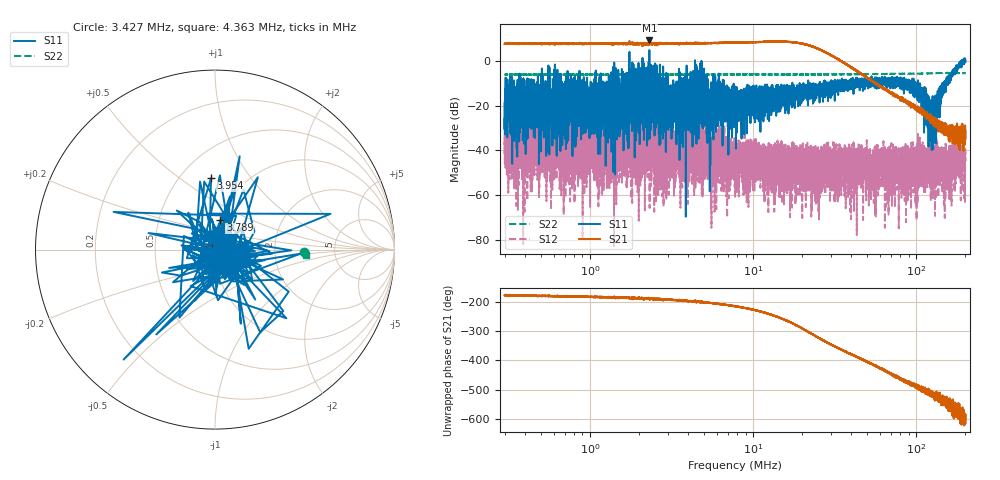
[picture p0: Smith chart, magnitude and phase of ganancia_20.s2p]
# Hz S DB R 50
! CMT, M5065, 19127446, 24.2.4/2
! Date: 11/1/2024 3:20:47 PM
! Data: Format (Calibration Info)
! Freq	S11:dB/Ang(F2)	S21:dB/Ang(F2)	S12:dB/Ang(F2)	S22:dB/Ang(F2)
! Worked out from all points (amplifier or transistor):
!   9000 points, 300 kHz to 200 MHz, reference 50 ohm
!   highest |S21| = 9.3 dB at 2.313 MHz (marker M1)
!   |S21| within 3 dB of that: start of sweep to 23.49 MHz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
!   unconditionally stable (mu >= 1): 2.315 MHz to 4.402 MHz; 4.853 MHz to 189.3 MHz; 190 MHz to 191.3 MHz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
!   at 886.8 kHz: K = 17.29, MAG = 9.1 dB, |S12| = -41.2 dB
!   at 7.749 MHz: K = 23.73, MAG = 9.6 dB, |S12| = -44.4 dB
!   at 200 MHz: K = 85.71, MAG = -17.9 dB, |S12| = -40.0 dB
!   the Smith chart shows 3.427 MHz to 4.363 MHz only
!   S11 on the Smith chart (normalised r, x): 3.427 MHz: 1.12, +0.03; 3.789 MHz: 1.01, +0.34; 3.954 MHz: 0.70, +0.66; 4.363 MHz: 1.23, -0.20
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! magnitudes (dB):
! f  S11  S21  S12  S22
! 300 kHz  -25.8  7.6  -34.3  -6.0
! 317.4 kHz  -25.2  7.8  -38.0  -6.0
! 400 kHz  -24.6  7.8  -42.4  -6.0
! 558.1 kHz  -24.4  7.9  -46.5  -6.1
! 694.6 kHz  -27.6  7.9  -37.2  -6.0
! 886.8 kHz  -16.5  7.8  -41.2  -6.0
! 2.313 MHz  5.0  9.3  -41.7  -6.0
! 2.621 MHz  -17.8  7.8  -60.1  -6.0
! 3.427 MHz  -24.4  7.8  -43.4  -6.0
! 3.789 MHz  -15.6  7.9  -54.4  -6.0
! 3.954 MHz  -8.0  7.9  -46.5  -6.0
! 4.363 MHz  -17.4  7.9  -24.6  -5.9
! 4.666 MHz  -13.6  8.0  -44.0  -6.0
! 5.333 MHz  -20.7  8.1  -44.4  -6.0
! 7.749 MHz  -18.8  8.3  -44.4  -6.0
! 22.91 MHz  -14.9  6.6  -40.8  -5.9
! 67.71 MHz  -9.2  -13.7  -40.1  -5.7
! 100.4 MHz  -11.8  -21.8  -71.3  -5.6
! 123.8 MHz  -26.6  -25.9  -50.9  -5.5
! 128.2 MHz  -15.9  -29.1  -49.5  -5.4
! 149.8 MHz  -9.7  -29.3  -48.3  -5.3
! 200 MHz  -0.3  -31.1  -40.0  -5.4
